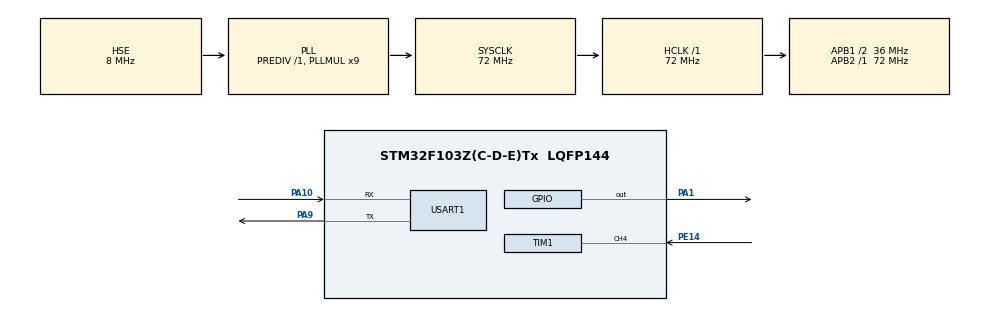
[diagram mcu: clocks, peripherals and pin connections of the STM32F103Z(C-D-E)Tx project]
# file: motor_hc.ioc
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Mcu.Family=STM32F1
Mcu.Name=STM32F103Z(C-D-E)Tx
Mcu.Package=LQFP144
NVIC.PriorityGroup=NVIC_PRIORITYGROUP_4
NVIC.TIM1_CC_IRQn=true\:0\:0\:false\:false\:true\:true\:true\:true
NVIC.TIM1_UP_IRQn=true\:0\:0\:false\:false\:true\:true\:true\:true
NVIC.USART1_IRQn=true\:0\:0\:false\:false\:true\:true\:true\:true
OSC_IN.Mode=HSE-External-Oscillator
OSC_IN.Signal=RCC_OSC_IN
OSC_OUT.Mode=HSE-External-Oscillator
OSC_OUT.Signal=RCC_OSC_OUT
PA1.GPIO_Speed=GPIO_SPEED_FREQ_MEDIUM
PA1.PinState=GPIO_PIN_SET
PA1.Signal=GPIO_Output
PA10.Mode=Asynchronous
PA10.Signal=USART1_RX
PA13.Mode=Serial_Wire
PA13.Signal=SYS_JTMS-SWDIO
PA14.Mode=Serial_Wire
PA14.Signal=SYS_JTCK-SWCLK
PA9.Mode=Asynchronous
PA9.Signal=USART1_TX
PC14-OSC32_IN.Mode=LSE-External-Oscillator
PC14-OSC32_IN.Signal=RCC_OSC32_IN
PC15-OSC32_OUT.Mode=LSE-External-Oscillator
PC15-OSC32_OUT.Signal=RCC_OSC32_OUT
PE14.Signal=S_TIM1_CH4
ProjectManager.HeapSize=0x200
ProjectManager.StackSize=0x400
ProjectManager.TargetToolchain=MDK-ARM V5.32
RCC.AHBFreq_Value=72000000
RCC.APB1CLKDivider=RCC_HCLK_DIV2
RCC.APB1Freq_Value=36000000
RCC.APB1TimFreq_Value=72000000
RCC.APB2Freq_Value=72000000
RCC.APB2TimFreq_Value=72000000
RCC.HCLKFreq_Value=72000000
RCC.PLLMUL=RCC_PLL_MUL9
RCC.PLLSourceVirtual=RCC_PLLSOURCE_HSE
RCC.SYSCLKFreq_VALUE=72000000
RCC.SYSCLKSource=RCC_SYSCLKSOURCE_PLLCLK
RCC.USBFreq_Value=72000000
SH.S_TIM1_CH4.0=TIM1_CH4,Input_Capture4_from_TI4
TIM1.Channel-Input_Capture4_from_TI4=TIM_CHANNEL_4
TIM1.Prescaler=72-1
USART1.VirtualMode=VM_ASYNC
VP_TIM1_VS_ClockSourceINT.Mode=Internal
board=custom

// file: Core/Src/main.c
/* USER CODE BEGIN Header */
/**
 ******************************************************************************
 * @file           : main.c
 * @brief          : Main program body
 ******************************************************************************
 * @attention
 *
 * Copyright (c) 2024 STMicroelectronics.
 * All rights reserved.
 *
 * This software is licensed under terms that can be found in the LICENSE file
 * in the root directory of this software component.
 * If no LICENSE file comes with this software, it is provided AS-IS.
 *
 ******************************************************************************
 */
/* USER CODE END Header */
#include "main.h"
#include "tim.h"
#include "usart.h"
#include "gpio.h"

/* USER CODE BEGIN Includes */
#include "string.h"
#include "stdio.h"
/* USER CODE END Includes */

/* USER CODE BEGIN PV */
int count;
float Distance;

/* USER CODE END PV */

void SystemClock_Config(void);

/* USER CODE BEGIN 0 */
int fputc(int ch, FILE *f)
{
  HAL_UART_Transmit(&huart1, (uint8_t *)&ch, 1, 0xffff);
  return ch;
}

int fgetc(FILE *f)
{
  uint8_t ch = 0;
  HAL_UART_Receive(&huart1, &ch, 1, 0xffff);
  return ch;
}

void Start(void);
/* USER CODE END 0 */

int main(void)
{

  /* MCU Configuration--------------------------------------------------------*/

  /* Reset of all peripherals, Initializes the Flash interface and the Systick. */
  HAL_Init();

  /* Configure the system clock */
  SystemClock_Config();

  /* Initialize all configured peripherals */
  MX_GPIO_Init();
  MX_USART1_UART_Init();
  MX_TIM1_Init();

  /* Infinite loop */
  while (1)
  {

    /* USER CODE BEGIN 3 */
      /* 定时器1，通道1，模式随便，主要用于计数，没有使用边沿捕获 */
		Start();//开启超声波模块

 		HAL_TIM_Base_Start(&htim1);//开启定时器

		//对超声波输入端口操作
		while( HAL_GPIO_ReadPin (GPIOE ,GPIO_PIN_14) == GPIO_PIN_RESET);//等待输入电平拉高

		__HAL_TIM_SetCounter(&htim1,0);

		//对超声波输入端口操作
		while( HAL_GPIO_ReadPin (GPIOE ,GPIO_PIN_14) == GPIO_PIN_SET);//等待输入电平变低

		count = __HAL_TIM_GetCounter(&htim1);

		HAL_TIM_Base_Stop(&htim1);

		Distance = count*340/2*0.000001*100;

		printf("Distance=%.1fcm\r\n",Distance);

    TIM1_Delay_us(2000);

  }
  /* USER CODE END 3 */
}

void SystemClock_Config(void)
{
  RCC_OscInitTypeDef RCC_OscInitStruct = {0};
  RCC_ClkInitTypeDef RCC_ClkInitStruct = {0};

  /** Initializes the RCC Oscillators according to the specified parameters
  * in the RCC_OscInitTypeDef structure.
  */
  RCC_OscInitStruct.OscillatorType = RCC_OSCILLATORTYPE_HSE;
  RCC_OscInitStruct.HSEState = RCC_HSE_ON;
  RCC_OscInitStruct.HSEPredivValue = RCC_HSE_PREDIV_DIV1;
  RCC_OscInitStruct.HSIState = RCC_HSI_ON;
  RCC_OscInitStruct.PLL.PLLState = RCC_PLL_ON;
  RCC_OscInitStruct.PLL.PLLSource = RCC_PLLSOURCE_HSE;
  RCC_OscInitStruct.PLL.PLLMUL = RCC_PLL_MUL9;
  if (HAL_RCC_OscConfig(&RCC_OscInitStruct) != HAL_OK)
  {
    Error_Handler();
  }

  /** Initializes the CPU, AHB and APB buses clocks
  */
  RCC_ClkInitStruct.ClockType = RCC_CLOCKTYPE_HCLK|RCC_CLOCKTYPE_SYSCLK
                              |RCC_CLOCKTYPE_PCLK1|RCC_CLOCKTYPE_PCLK2;
  RCC_ClkInitStruct.SYSCLKSource = RCC_SYSCLKSOURCE_PLLCLK;
  RCC_ClkInitStruct.AHBCLKDivider = RCC_SYSCLK_DIV1;
  RCC_ClkInitStruct.APB1CLKDivider = RCC_HCLK_DIV2;
  RCC_ClkInitStruct.APB2CLKDivider = RCC_HCLK_DIV1;

  if (HAL_RCC_ClockConfig(&RCC_ClkInitStruct, FLASH_LATENCY_2) != HAL_OK)
  {
    Error_Handler();
  }
}

/* USER CODE BEGIN 4 */
void Start(void)
{
  HAL_GPIO_WritePin(GPIOA, GPIO_PIN_1, GPIO_PIN_SET); // 拉高

  TIM1_Delay_us(15);

  HAL_GPIO_WritePin(GPIOA, GPIO_PIN_1, GPIO_PIN_RESET); // 拉低

}

/* USER CODE END 4 */

void Error_Handler(void)
{
  __disable_irq();
  while (1)
  {
  }
}
